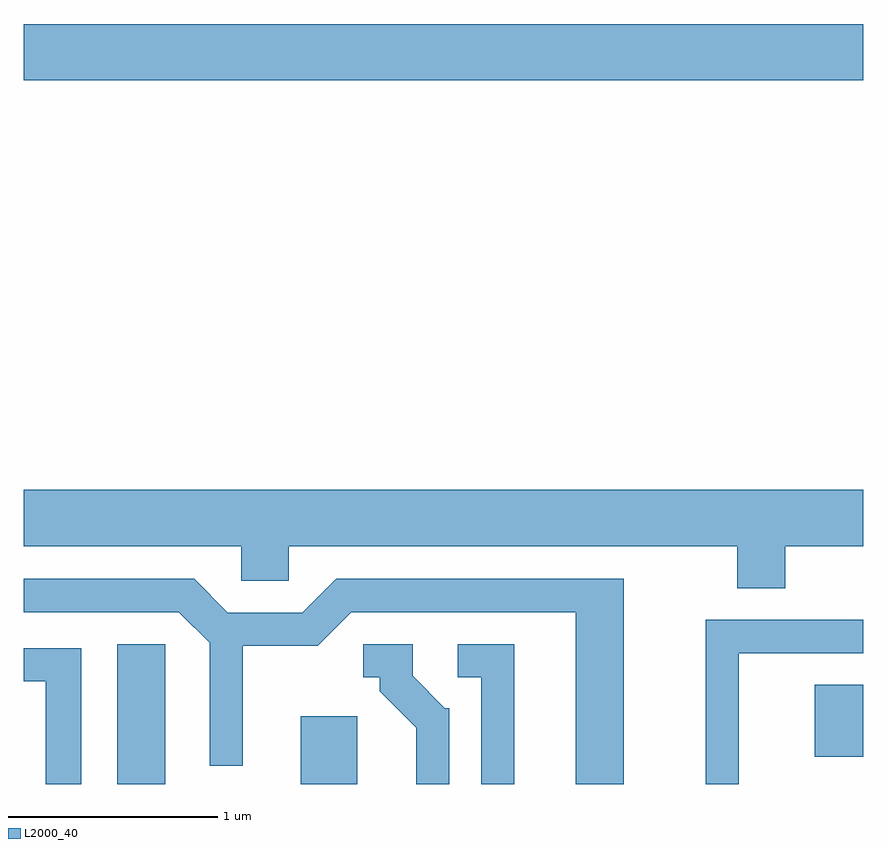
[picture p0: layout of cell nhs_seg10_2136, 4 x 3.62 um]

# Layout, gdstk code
import gdstk
lib = gdstk.Library(unit=1e-6, precision=1e-09)
def R(c, l, rs):  # rectangles x0, y0, x1, y1
    for r in rs: c.add(gdstk.rectangle(r[:2], r[2:], *l))
def P(c, l, *ps):  # polygons
    for p in ps: c.add(gdstk.Polygon(p, *l))
L2000_40 = (2000, 40)

nhs_seg10_2136 = lib.new_cell('nhs_seg10_2136')
R(nhs_seg10_2136, L2000_40, [(248.056,2150.522,248.284,2151.189), (248.931,2150.522,249.199,2150.844), (251.381,2150.651,251.611,2150.994), (247.611,2153.876,251.611,2154.144)])
P(nhs_seg10_2136, L2000_40, [(251.239,2151.656),(251.611,2151.656),(251.611,2151.924),(247.611,2151.924),(247.611,2151.656),(248.646,2151.656),(248.646,2151.491),(248.874,2151.491),(248.874,2151.656),(251.011,2151.656),(251.011,2151.456),(251.239,2151.456)],
  [(250.469,2151.499),(249.099,2151.499),(248.939,2151.339),(248.582,2151.339),(248.422,2151.499),(247.611,2151.499),(247.611,2151.341),(248.349,2151.341),(248.496,2151.194),(248.496,2150.608),(248.654,2150.608),(248.654,2151.181),(249.012,2151.181),(249.172,2151.341),(250.241,2151.341),(250.241,2150.522),(250.469,2150.522)],
  [(251.019,2151.146),(251.611,2151.146),(251.611,2151.304),(250.861,2151.304),(250.861,2150.522),(251.019,2150.522)],
  [(249.949,2151.189),(249.678,2151.189),(249.678,2151.031),(249.791,2151.031),(249.791,2150.522),(249.949,2150.522)],
  [(249.639,2150.884),(249.617,2150.884),(249.464,2151.037),(249.464,2151.189),(249.228,2151.189),(249.228,2151.031),(249.306,2151.031),(249.306,2150.964),(249.481,2150.789),(249.481,2150.522),(249.639,2150.522)],
  [(247.884,2151.169),(247.611,2151.169),(247.611,2151.011),(247.716,2151.011),(247.716,2150.522),(247.884,2150.522)])

lib.write_gds('nhs_seg10_2136.gds')
